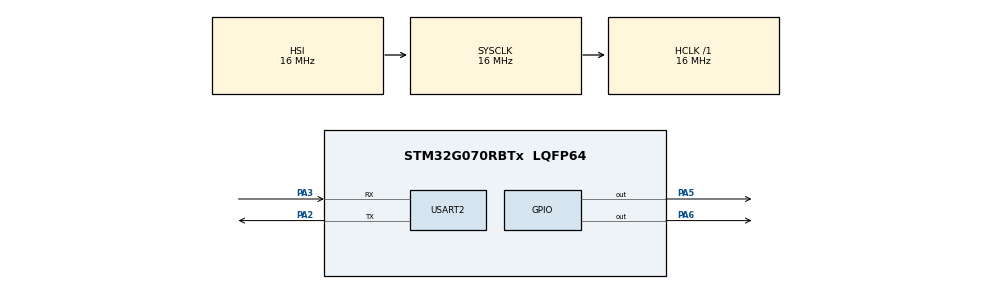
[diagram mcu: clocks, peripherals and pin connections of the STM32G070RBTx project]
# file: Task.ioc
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Mcu.Family=STM32G0
Mcu.Name=STM32G070RBTx
Mcu.Package=LQFP64
NVIC.TIM3_IRQn=true\:3\:0\:false\:false\:true\:false\:true\:true
NVIC.TimeBase=TIM3_IRQn
NVIC.TimeBaseIP=TIM3
PA13.Mode=Serial_Wire
PA13.Signal=SYS_SWDIO
PA14-BOOT0.Mode=Serial_Wire
PA14-BOOT0.Signal=SYS_SWCLK
PA2.Mode=Asynchronous
PA2.Signal=USART2_TX
PA3.Mode=Asynchronous
PA3.Signal=USART2_RX
PA5.Signal=GPIO_Output
PA6.Signal=GPIO_Output
PC14-OSC32_IN\ (PC14).Mode=LSE-External-Oscillator
PC14-OSC32_IN\ (PC14).Signal=RCC_OSC32_IN
PC15-OSC32_OUT\ (PC15).Mode=LSE-External-Oscillator
PC15-OSC32_OUT\ (PC15).Signal=RCC_OSC32_OUT
PF0-OSC_IN\ (PF0).Mode=HSE-External-Clock-Source
PF0-OSC_IN\ (PF0).Signal=RCC_OSC_IN
ProjectManager.HeapSize=0x200
ProjectManager.StackSize=0x400
ProjectManager.TargetToolchain=STM32CubeIDE
RCC.AHBFreq_Value=16000000
RCC.CortexFreq_Value=16000000
RCC.EXTERNAL_CLOCK_VALUE=12288000
RCC.HCLKFreq_Value=16000000
RCC.HSE_VALUE=8000000
RCC.HSI_VALUE=16000000
RCC.SYSCLKFreq_VALUE=16000000
RCC.VCOOutputFreq_Value=128000000
USART2.VirtualMode-Asynchronous=VM_ASYNC
VP_SYS_VS_tim3.Mode=TIM3
board=NUCLEO-G070RB

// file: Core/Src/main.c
/* USER CODE BEGIN Header */
/**
  ******************************************************************************
  * @file           : main.c
  * @brief          : Main program body
  ******************************************************************************
  * @attention
  *
  * Copyright (c) 2023 STMicroelectronics.
  * All rights reserved.
  *
  * This software is licensed under terms that can be found in the LICENSE file
  * in the root directory of this software component.
  * If no LICENSE file comes with this software, it is provided AS-IS.
  *
  ******************************************************************************
  */
/* USER CODE END Header */
#include "main.h"

/* USER CODE BEGIN Includes */
#include "FreeRTOS.h"
#include "task.h"

/* USER CODE END Includes */

UART_HandleTypeDef huart2;

void SystemClock_Config(void);
static void MX_GPIO_Init(void);
static void MX_USART2_UART_Init(void);
/* USER CODE BEGIN PFP */
static void task1(void *p);
static void task2(void *p);
static void task3(void *p);

/* USER CODE END PFP */

/* USER CODE BEGIN 0 */

void transmit1 (void)
{
	uint8_t data[] = "HELLO TASK1\r\n";
	HAL_UART_Transmit(&huart2, data, sizeof(data), 1000);
}

void transmit2 (void)
{
	uint8_t data[] = "HELLO TASK2\r\n";
	HAL_UART_Transmit(&huart2, data, sizeof(data), 1000);
}

void transmit3 (void)
{
	uint8_t data[] = "HELLO TASK3\r\n";
	HAL_UART_Transmit(&huart2, data, sizeof(data), 1000);
}

static void task1(void *p)
{
	while(1)
	{
		transmit1();
		vTaskDelay(1000);

	}
}

static void task2(void *p)
{
	while(1)
	{
		transmit2();
		vTaskDelay(1000);
	}
}

static void task3(void *p)
{
	while(1)
	{
		transmit3();
		vTaskDelay(1000);
	}
}

/* USER CODE END 0 */

int main(void)
{
  /* USER CODE BEGIN 1 */
	TaskHandle_t t1, t2, t3;

  /* USER CODE END 1 */

  /* MCU Configuration--------------------------------------------------------*/

  /* Reset of all peripherals, Initializes the Flash interface and the Systick. */
  HAL_Init();

  /* Configure the system clock */
  SystemClock_Config();

  /* Initialize all configured peripherals */
  MX_GPIO_Init();
  MX_USART2_UART_Init();
  /* USER CODE BEGIN 2 */

  xTaskCreate(task1,"T1", 200, NULL,3, &t1);
  xTaskCreate(task2,"T2", 200, NULL,2, &t2);
  xTaskCreate(task3,"T3", 200, NULL,1, &t3);

  vTaskStartScheduler();

  /* USER CODE END 2 */

  /* Infinite loop */
  while (1)
  {

    /* USER CODE BEGIN 3 */
	  HAL_GPIO_TogglePin(GPIOA,GPIO_PIN_5);
	  HAL_Delay(100);
  }
  /* USER CODE END 3 */
}

void SystemClock_Config(void)
{
  RCC_OscInitTypeDef RCC_OscInitStruct = {0};
  RCC_ClkInitTypeDef RCC_ClkInitStruct = {0};

  /** Configure the main internal regulator output voltage
  */
  HAL_PWREx_ControlVoltageScaling(PWR_REGULATOR_VOLTAGE_SCALE1);

  /** Initializes the RCC Oscillators according to the specified parameters
  * in the RCC_OscInitTypeDef structure.
  */
  RCC_OscInitStruct.OscillatorType = RCC_OSCILLATORTYPE_HSI;
  RCC_OscInitStruct.HSIState = RCC_HSI_ON;
  RCC_OscInitStruct.HSIDiv = RCC_HSI_DIV1;
  RCC_OscInitStruct.HSICalibrationValue = RCC_HSICALIBRATION_DEFAULT;
  RCC_OscInitStruct.PLL.PLLState = RCC_PLL_NONE;
  if (HAL_RCC_OscConfig(&RCC_OscInitStruct) != HAL_OK)
  {
    Error_Handler();
  }

  /** Initializes the CPU, AHB and APB buses clocks
  */
  RCC_ClkInitStruct.ClockType = RCC_CLOCKTYPE_HCLK|RCC_CLOCKTYPE_SYSCLK
                              |RCC_CLOCKTYPE_PCLK1;
  RCC_ClkInitStruct.SYSCLKSource = RCC_SYSCLKSOURCE_HSI;
  RCC_ClkInitStruct.AHBCLKDivider = RCC_SYSCLK_DIV1;
  RCC_ClkInitStruct.APB1CLKDivider = RCC_HCLK_DIV1;

  if (HAL_RCC_ClockConfig(&RCC_ClkInitStruct, FLASH_LATENCY_0) != HAL_OK)
  {
    Error_Handler();
  }
}

static void MX_USART2_UART_Init(void)
{

  huart2.Instance = USART2;
  huart2.Init.BaudRate = 115200;
  huart2.Init.WordLength = UART_WORDLENGTH_8B;
  huart2.Init.StopBits = UART_STOPBITS_1;
  huart2.Init.Parity = UART_PARITY_NONE;
  huart2.Init.Mode = UART_MODE_TX_RX;
  huart2.Init.HwFlowCtl = UART_HWCONTROL_NONE;
  huart2.Init.OverSampling = UART_OVERSAMPLING_16;
  huart2.Init.OneBitSampling = UART_ONE_BIT_SAMPLE_DISABLE;
  huart2.Init.ClockPrescaler = UART_PRESCALER_DIV1;
  huart2.AdvancedInit.AdvFeatureInit = UART_ADVFEATURE_NO_INIT;
  if (HAL_UART_Init(&huart2) != HAL_OK)
  {
    Error_Handler();
  }
  if (HAL_UARTEx_SetTxFifoThreshold(&huart2, UART_TXFIFO_THRESHOLD_1_8) != HAL_OK)
  {
    Error_Handler();
  }
  if (HAL_UARTEx_SetRxFifoThreshold(&huart2, UART_RXFIFO_THRESHOLD_1_8) != HAL_OK)
  {
    Error_Handler();
  }
  if (HAL_UARTEx_DisableFifoMode(&huart2) != HAL_OK)
  {
    Error_Handler();
  }

}

static void MX_GPIO_Init(void)
{
  GPIO_InitTypeDef GPIO_InitStruct = {0};

  /* GPIO Ports Clock Enable */
  __HAL_RCC_GPIOC_CLK_ENABLE();
  __HAL_RCC_GPIOF_CLK_ENABLE();
  __HAL_RCC_GPIOA_CLK_ENABLE();

  /*Configure GPIO pin Output Level */
  HAL_GPIO_WritePin(GPIOA, GPIO_PIN_5|GPIO_PIN_6, GPIO_PIN_RESET);

  /*Configure GPIO pins : PA5 PA6 */
  GPIO_InitStruct.Pin = GPIO_PIN_5|GPIO_PIN_6;
  GPIO_InitStruct.Mode = GPIO_MODE_OUTPUT_PP;
  GPIO_InitStruct.Pull = GPIO_NOPULL;
  GPIO_InitStruct.Speed = GPIO_SPEED_FREQ_LOW;
  HAL_GPIO_Init(GPIOA, &GPIO_InitStruct);

}

void HAL_TIM_PeriodElapsedCallback(TIM_HandleTypeDef *htim)
{
  if (htim->Instance == TIM3) {
    HAL_IncTick();
  }
}

void Error_Handler(void)
{
  __disable_irq();
  while (1)
  {
  }
}
